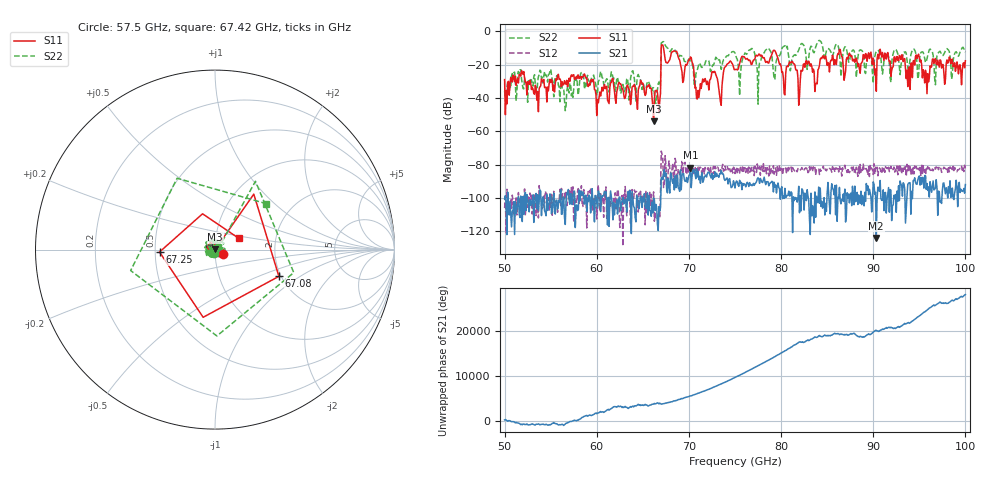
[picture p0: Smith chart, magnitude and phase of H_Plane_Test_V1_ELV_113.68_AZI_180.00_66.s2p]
! 11/27/2026 8:45:56 AM
! C:\ANRITSUVNA\TEMP\TEMP.S2P
! CHANNEL.1
! TR.MEASUREMENT
! RAW.DATA
# HZ S RI R 50.0
! FREQ.HZ  S11RE  S11IM  S21RE  S21IM  S12RE  S12IM  S22RE  S22IM
!; PortSelection: Port_12
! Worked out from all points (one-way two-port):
!   601 points, 50 GHz to 100 GHz, reference 50 ohm
!   highest |S21| = -81.85 dB at 70.17 GHz (marker M1); lowest = -124.0 dB at 90.33 GHz (marker M2)
!   lowest |S11| = -54.1 dB at 66.17 GHz (marker M3), VSWR 1.00, Z = 50.1 + j0.143 ohm
!   |S11| at or under -10 dB: start of sweep to 67 GHz; 67.24 GHz to end of sweep
!   |S22| runs from -47.7 to -5.6 dB; largest |S21 - S12| = 0.00023
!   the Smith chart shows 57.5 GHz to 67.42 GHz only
!   S11 on the Smith chart (normalised r, x): 57.5 GHz: 1.09, -0.05; 67.08 GHz: 1.95, -0.68; 67.25 GHz: 0.53, -0.02; 67.42 GHz: 1.29, +0.17
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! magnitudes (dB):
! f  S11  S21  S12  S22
! 50 GHz  -29.1  -100.5  -106.0  -35.8
! 51.67 GHz  -26.2  -111.7  -104.2  -23.2
! 53.42 GHz  -34.8  -97.2  -110.5  -35.5
! 57.5 GHz  -26.2  -96.2  -114.6  -34.5
! 58.42 GHz  -27.1  -98.4  -105.0  -24.7
! 60.17 GHz  -42.9  -95.9  -92.1  -30.2
! 66.17 GHz  -54.1  -100.1  -96.3  -34.0
! 66.67 GHz  -41.8  -119.5  -108.0  -31.6
! 67.08 GHz  -8.3  -87.6  -73.7  -6.8
! 67.25 GHz  -10.2  -85.1  -93.7  -6.3
! 67.42 GHz  -16.7  -87.1  -74.6  -8.4
! 70.17 GHz  -15.5  -81.9  -81.4  -18.5
! 70.92 GHz  -40.6  -87.4  -83.0  -23.0
! 75 GHz  -23.1  -94.0  -85.3  -13.0
! 79.25 GHz  -11.4  -90.6  -85.7  -29.1
! 80.25 GHz  -28.0  -98.6  -82.5  -9.3
! 83.42 GHz  -24.6  -104.6  -84.0  -10.9
! 90.33 GHz  -36.0  -124.0  -82.0  -12.1
! 91.67 GHz  -16.7  -93.7  -81.5  -15.3
! 94.83 GHz  -14.8  -89.2  -82.3  -28.7
! 95.83 GHz  -37.5  -91.3  -82.7  -16.6
! 100 GHz  -17.8  -92.0  -83.4  -12.6
